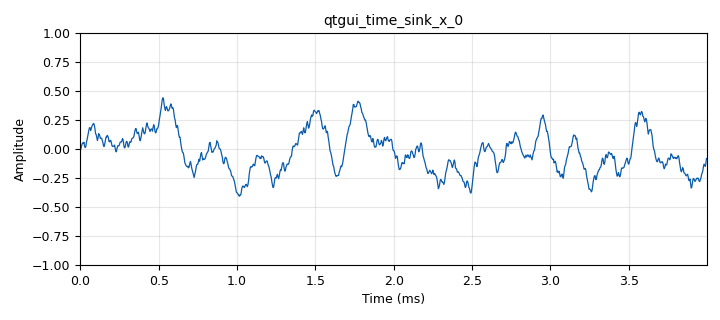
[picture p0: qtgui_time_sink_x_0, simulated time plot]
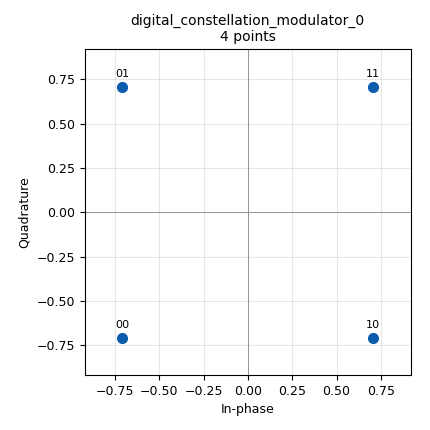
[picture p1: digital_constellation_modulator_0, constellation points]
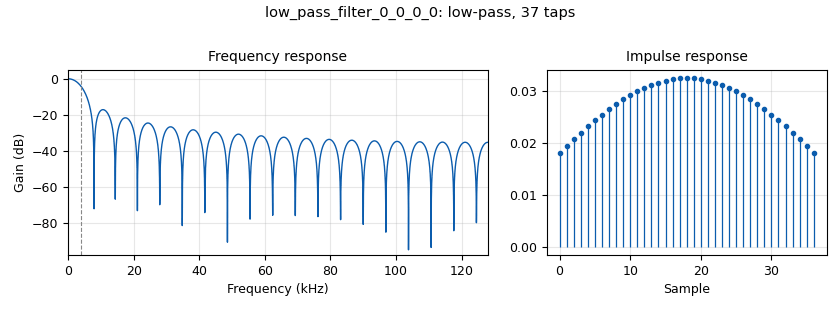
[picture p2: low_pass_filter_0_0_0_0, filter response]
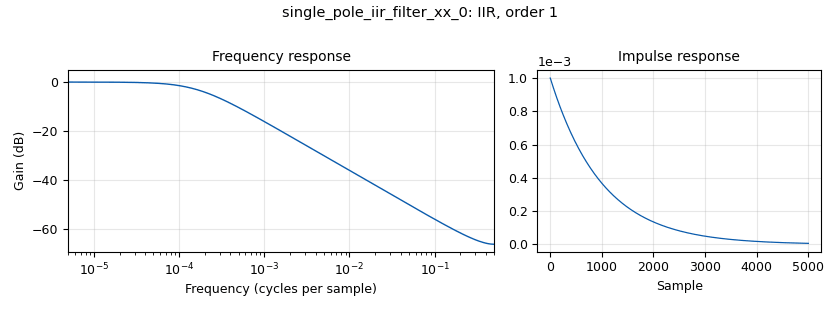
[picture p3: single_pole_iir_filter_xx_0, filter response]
options:
  parameters:
    generate_options: qt_gui
    id: Labo5_1
    output_language: python
  states: {}

blocks:
- name: M
  id: variable
  parameters:
    value: '4'
  states: {}
- name: RRCrolloff
  id: variable
  parameters:
    value: '2'
  states: {}
- name: noisePower
  id: variable_qtgui_range
  parameters:
    label: noisePower
    orient: Qt.Horizontal
    start: '0'
    step: '0.5'
    stop: '10'
    value: '0.1'
    widget: counter
  states: {}
- name: qam
  id: variable_constellation_rect
  parameters:
    const_points: '[-1-1j, -1+1j, 1+1j, 1-1j]'
    imag_sect: '2'
    real_sect: '2'
    rot_sym: '4'
    sym_map: '[0, 1, 3, 2]'
    w_imag_sect: '1'
    w_real_sect: '1'
  states: {}
- name: samp_rate
  id: variable
  parameters:
    value: '256000'
  states: {}
- name: sps
  id: variable
  parameters:
    value: '32'
  states: {}
- name: analog_noise_source_x_0
  id: analog_noise_source_x
  parameters:
    amp: numpy.sqrt(noisePower)
    noise_type: analog.GR_GAUSSIAN
    seed: '0'
    type: float
  states: {}
- name: analog_random_source_x_1
  id: analog_random_source_x
  parameters:
    max: '256'
    min: '0'
    num_samps: '100000'
    repeat: 'True'
    type: byte
  states: {}
- name: blocks_add_xx_0
  id: blocks_add_xx
  parameters:
    type: float
  states: {}
- name: blocks_complex_to_real_0_1
  id: blocks_complex_to_real
  parameters: {}
  states: {}
- name: blocks_multiply_xx_0
  id: blocks_multiply_xx
  parameters:
    type: float
  states: {}
- name: blocks_multiply_xx_0_0
  id: blocks_multiply_xx
  parameters:
    type: float
  states: {}
- name: blocks_nlog10_ff_0_0
  id: blocks_nlog10_ff
  parameters:
    k: '0'
    n: '10'
  states: {}
- name: blocks_nlog10_ff_0_1
  id: blocks_nlog10_ff
  parameters:
    k: '0'
    n: '10'
  states: {}
- name: blocks_sub_xx_0
  id: blocks_sub_xx
  parameters:
    type: float
  states: {}
- name: blocks_throttle_0
  id: blocks_throttle
  parameters:
    samples_per_second: samp_rate
    type: float
  states: {}
- name: digital_constellation_modulator_0
  id: digital_constellation_modulator
  parameters:
    constellation: qam
    differential: 'False'
    excess_bw: '0.35'
    samples_per_symbol: '2'
  states: {}
- name: low_pass_filter_0_0_0_0
  id: low_pass_filter
  parameters:
    beta: '1000'
    cutoff_freq: samp_rate/sps/2
    gain: '1'
    interp: '1'
    samp_rate: samp_rate
    type: interp_fir_filter_fff
    width: (samp_rate/sps)*0.83
    win: firdes.WIN_RECTANGULAR
  states: {}
- name: low_pass_filter_0_0_0_0_0
  id: low_pass_filter
  parameters:
    beta: '1000'
    cutoff_freq: samp_rate/sps/2
    gain: '1'
    interp: '1'
    samp_rate: samp_rate
    type: interp_fir_filter_fff
    width: (samp_rate/sps)*0.83
    win: firdes.WIN_RECTANGULAR
  states: {}
- name: qtgui_number_sink_0
  id: qtgui_number_sink
  parameters:
    graph_type: qtgui.NUM_GRAPH_HORIZ
    max: '100'
    type: float
  states: {}
- name: qtgui_time_sink_x_0
  id: qtgui_time_sink_x
  parameters:
    size: '1024'
    srate: samp_rate
    tr_mode: qtgui.TRIG_MODE_AUTO
    type: float
    update_time: '1'
  states: {}
- name: single_pole_iir_filter_xx_0
  id: single_pole_iir_filter_xx
  parameters:
    alpha: '0.001'
    type: float
  states: {}
- name: single_pole_iir_filter_xx_0_0
  id: single_pole_iir_filter_xx
  parameters:
    alpha: '0.001'
    type: float
  states: {}

connections:
- [analog_noise_source_x_0, '0', blocks_add_xx_0, '1']
- [analog_noise_source_x_0, '0', low_pass_filter_0_0_0_0_0, '0']
- [analog_random_source_x_1, '0', digital_constellation_modulator_0, '0']
- [blocks_add_xx_0, '0', low_pass_filter_0_0_0_0, '0']
- [blocks_complex_to_real_0_1, '0', blocks_add_xx_0, '0']
- [blocks_complex_to_real_0_1, '0', blocks_multiply_xx_0, '0']
- [blocks_complex_to_real_0_1, '0', blocks_multiply_xx_0, '1']
- [blocks_multiply_xx_0, '0', single_pole_iir_filter_xx_0_0, '0']
- [blocks_multiply_xx_0_0, '0', single_pole_iir_filter_xx_0, '0']
- [blocks_nlog10_ff_0_0, '0', blocks_sub_xx_0, '1']
- [blocks_nlog10_ff_0_1, '0', blocks_sub_xx_0, '0']
- [blocks_sub_xx_0, '0', qtgui_number_sink_0, '0']
- [blocks_throttle_0, '0', qtgui_time_sink_x_0, '0']
- [digital_constellation_modulator_0, '0', blocks_complex_to_real_0_1, '0']
- [low_pass_filter_0_0_0_0, '0', blocks_throttle_0, '0']
- [low_pass_filter_0_0_0_0_0, '0', blocks_multiply_xx_0_0, '0']
- [low_pass_filter_0_0_0_0_0, '0', blocks_multiply_xx_0_0, '1']
- [single_pole_iir_filter_xx_0, '0', blocks_nlog10_ff_0_0, '0']
- [single_pole_iir_filter_xx_0_0, '0', blocks_nlog10_ff_0_1, '0']

metadata:
  file_format: 1
